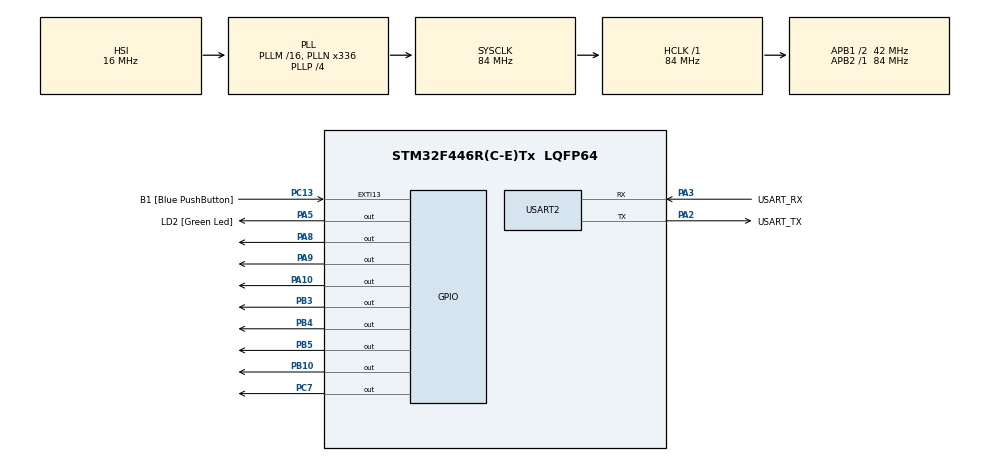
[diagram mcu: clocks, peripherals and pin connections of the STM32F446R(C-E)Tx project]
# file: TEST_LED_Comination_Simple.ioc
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Mcu.Family=STM32F4
Mcu.Name=STM32F446R(C-E)Tx
Mcu.Package=LQFP64
NVIC.PriorityGroup=NVIC_PRIORITYGROUP_0
PA10.Signal=GPIO_Output
PA13.GPIO_Label=TMS
PA13.Mode=Serial_Wire
PA13.Signal=SYS_JTMS-SWDIO
PA14.GPIO_Label=TCK
PA14.Mode=Serial_Wire
PA14.Signal=SYS_JTCK-SWCLK
PA2.GPIO_Label=USART_TX
PA2.Mode=Asynchronous
PA2.Signal=USART2_TX
PA3.GPIO_Label=USART_RX
PA3.Mode=Asynchronous
PA3.Signal=USART2_RX
PA5.GPIO_Label=LD2 [Green Led]
PA5.Signal=GPIO_Output
PA8.Signal=GPIO_Output
PA9.Signal=GPIO_Output
PB10.Signal=GPIO_Output
PB3.Signal=GPIO_Output
PB4.Signal=GPIO_Output
PB5.Signal=GPIO_Output
PC13.GPIO_Label=B1 [Blue PushButton]
PC13.GPIO_ModeDefaultEXTI=GPIO_MODE_IT_FALLING
PC13.Signal=GPXTI13
PC14-OSC32_IN.Mode=LSE-External-Oscillator
PC14-OSC32_IN.Signal=RCC_OSC32_IN
PC15-OSC32_OUT.Mode=LSE-External-Oscillator
PC15-OSC32_OUT.Signal=RCC_OSC32_OUT
PC7.Signal=GPIO_Output
PH0-OSC_IN.Mode=HSE-External-Oscillator
PH0-OSC_IN.Signal=RCC_OSC_IN
PH1-OSC_OUT.Mode=HSE-External-Oscillator
PH1-OSC_OUT.Signal=RCC_OSC_OUT
ProjectManager.HeapSize=0x200
ProjectManager.StackSize=0x400
ProjectManager.TargetToolchain=STM32CubeIDE
RCC.48MHZClocksFreq_Value=84000000
RCC.AHBFreq_Value=84000000
RCC.APB1CLKDivider=RCC_HCLK_DIV2
RCC.APB1Freq_Value=42000000
RCC.APB1TimFreq_Value=84000000
RCC.APB2Freq_Value=84000000
RCC.APB2TimFreq_Value=84000000
RCC.CortexFreq_Value=84000000
RCC.FLatency-AdvancedSettings=FLASH_LATENCY_2
RCC.HCLKFreq_Value=84000000
RCC.HSE_VALUE=8000000
RCC.HSI_VALUE=16000000
RCC.PLLN=336
RCC.PLLP=RCC_PLLP_DIV4
RCC.SYSCLKFreq_VALUE=84000000
RCC.SYSCLKSource=RCC_SYSCLKSOURCE_PLLCLK
RCC.USBFreq_Value=168000000
RCC.VCOOutputFreq_Value=336000000
USART2.VirtualMode=VM_ASYNC
board=NUCLEO-F446RE

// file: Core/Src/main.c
/* USER CODE BEGIN Header */
/**
  ******************************************************************************
  * @file           : main.c
  * @brief          : Main program body
  ******************************************************************************
  * @attention
  *
  * Copyright (c) 2023 STMicroelectronics.
  * All rights reserved.
  *
  * This software is licensed under terms that can be found in the LICENSE file
  * in the root directory of this software component.
  * If no LICENSE file comes with this software, it is provided AS-IS.
  *
  ******************************************************************************
  */
/* USER CODE END Header */
#include "main.h"

#define delay HAL_Delay(100)

UART_HandleTypeDef huart2;

void SystemClock_Config(void);
static void MX_GPIO_Init(void);
static void MX_USART2_UART_Init(void);

int main(void)
{

  /* MCU Configuration--------------------------------------------------------*/

  /* Reset of all peripherals, Initializes the Flash interface and the Systick. */
  HAL_Init();

  /* Configure the system clock */
  SystemClock_Config();

  /* Initialize all configured peripherals */
  MX_GPIO_Init();
  MX_USART2_UART_Init();

  /* Infinite loop */
  while (1)
  {

    /* USER CODE BEGIN 3 */

		  HAL_GPIO_WritePin(GPIOA, GPIO_PIN_10, GPIO_PIN_SET);
		  HAL_Delay(100);
		  HAL_GPIO_WritePin(GPIOB, GPIO_PIN_3, GPIO_PIN_SET);
	  	  HAL_Delay(100);
	  	  HAL_GPIO_WritePin(GPIOB, GPIO_PIN_5, GPIO_PIN_SET);
		  HAL_Delay(100);
		  HAL_GPIO_WritePin(GPIOB, GPIO_PIN_4, GPIO_PIN_SET);
		  HAL_Delay(100);
		  HAL_GPIO_WritePin(GPIOB, GPIO_PIN_10, GPIO_PIN_SET);
		  HAL_Delay(100);
		  HAL_GPIO_WritePin(GPIOA, GPIO_PIN_8, GPIO_PIN_SET);
		  HAL_Delay(100);
		  HAL_GPIO_WritePin(GPIOA, GPIO_PIN_9, GPIO_PIN_SET);
		  HAL_Delay(100);
		  HAL_GPIO_WritePin(GPIOC, GPIO_PIN_7, GPIO_PIN_SET);
		  HAL_Delay(100);

		  HAL_GPIO_WritePin(GPIOA, GPIO_PIN_10, GPIO_PIN_RESET);
		  HAL_Delay(100);
		  HAL_GPIO_WritePin(GPIOB, GPIO_PIN_3, GPIO_PIN_RESET);
		  HAL_Delay(100);
		  HAL_GPIO_WritePin(GPIOB, GPIO_PIN_5, GPIO_PIN_RESET);
		  HAL_Delay(100);
		  HAL_GPIO_WritePin(GPIOB, GPIO_PIN_4, GPIO_PIN_RESET);
		  HAL_Delay(100);
		  HAL_GPIO_WritePin(GPIOB, GPIO_PIN_10, GPIO_PIN_RESET);
		  HAL_Delay(100);
		  HAL_GPIO_WritePin(GPIOA, GPIO_PIN_8, GPIO_PIN_RESET);
		  HAL_Delay(100);
		  HAL_GPIO_WritePin(GPIOA, GPIO_PIN_9, GPIO_PIN_RESET);
		  HAL_Delay(100);
		  HAL_GPIO_WritePin(GPIOC, GPIO_PIN_7, GPIO_PIN_RESET);
		  HAL_Delay(100);

  }
  /* USER CODE END 3 */
}

void SystemClock_Config(void)
{
  RCC_OscInitTypeDef RCC_OscInitStruct = {0};
  RCC_ClkInitTypeDef RCC_ClkInitStruct = {0};

  /** Configure the main internal regulator output voltage
  */
  __HAL_RCC_PWR_CLK_ENABLE();
  __HAL_PWR_VOLTAGESCALING_CONFIG(PWR_REGULATOR_VOLTAGE_SCALE3);

  /** Initializes the RCC Oscillators according to the specified parameters
  * in the RCC_OscInitTypeDef structure.
  */
  RCC_OscInitStruct.OscillatorType = RCC_OSCILLATORTYPE_HSI;
  RCC_OscInitStruct.HSIState = RCC_HSI_ON;
  RCC_OscInitStruct.HSICalibrationValue = RCC_HSICALIBRATION_DEFAULT;
  RCC_OscInitStruct.PLL.PLLState = RCC_PLL_ON;
  RCC_OscInitStruct.PLL.PLLSource = RCC_PLLSOURCE_HSI;
  RCC_OscInitStruct.PLL.PLLM = 16;
  RCC_OscInitStruct.PLL.PLLN = 336;
  RCC_OscInitStruct.PLL.PLLP = RCC_PLLP_DIV4;
  RCC_OscInitStruct.PLL.PLLQ = 2;
  RCC_OscInitStruct.PLL.PLLR = 2;
  if (HAL_RCC_OscConfig(&RCC_OscInitStruct) != HAL_OK)
  {
    Error_Handler();
  }

  /** Initializes the CPU, AHB and APB buses clocks
  */
  RCC_ClkInitStruct.ClockType = RCC_CLOCKTYPE_HCLK|RCC_CLOCKTYPE_SYSCLK
                              |RCC_CLOCKTYPE_PCLK1|RCC_CLOCKTYPE_PCLK2;
  RCC_ClkInitStruct.SYSCLKSource = RCC_SYSCLKSOURCE_PLLCLK;
  RCC_ClkInitStruct.AHBCLKDivider = RCC_SYSCLK_DIV1;
  RCC_ClkInitStruct.APB1CLKDivider = RCC_HCLK_DIV2;
  RCC_ClkInitStruct.APB2CLKDivider = RCC_HCLK_DIV1;

  if (HAL_RCC_ClockConfig(&RCC_ClkInitStruct, FLASH_LATENCY_2) != HAL_OK)
  {
    Error_Handler();
  }
}

static void MX_USART2_UART_Init(void)
{

  huart2.Instance = USART2;
  huart2.Init.BaudRate = 115200;
  huart2.Init.WordLength = UART_WORDLENGTH_8B;
  huart2.Init.StopBits = UART_STOPBITS_1;
  huart2.Init.Parity = UART_PARITY_NONE;
  huart2.Init.Mode = UART_MODE_TX_RX;
  huart2.Init.HwFlowCtl = UART_HWCONTROL_NONE;
  huart2.Init.OverSampling = UART_OVERSAMPLING_16;
  if (HAL_UART_Init(&huart2) != HAL_OK)
  {
    Error_Handler();
  }

}

static void MX_GPIO_Init(void)
{
  GPIO_InitTypeDef GPIO_InitStruct = {0};

  /* GPIO Ports Clock Enable */
  __HAL_RCC_GPIOC_CLK_ENABLE();
  __HAL_RCC_GPIOH_CLK_ENABLE();
  __HAL_RCC_GPIOA_CLK_ENABLE();
  __HAL_RCC_GPIOB_CLK_ENABLE();

  /*Configure GPIO pin Output Level */
  HAL_GPIO_WritePin(GPIOA, LD2_Pin|GPIO_PIN_8|GPIO_PIN_9|GPIO_PIN_10, GPIO_PIN_RESET);

  /*Configure GPIO pin Output Level */
  HAL_GPIO_WritePin(GPIOB, GPIO_PIN_10|GPIO_PIN_3|GPIO_PIN_4|GPIO_PIN_5, GPIO_PIN_RESET);

  /*Configure GPIO pin Output Level */
  HAL_GPIO_WritePin(GPIOC, GPIO_PIN_7, GPIO_PIN_RESET);

  /*Configure GPIO pin : B1_Pin */
  GPIO_InitStruct.Pin = B1_Pin;
  GPIO_InitStruct.Mode = GPIO_MODE_IT_FALLING;
  GPIO_InitStruct.Pull = GPIO_NOPULL;
  HAL_GPIO_Init(B1_GPIO_Port, &GPIO_InitStruct);

  /*Configure GPIO pins : LD2_Pin PA8 PA9 PA10 */
  GPIO_InitStruct.Pin = LD2_Pin|GPIO_PIN_8|GPIO_PIN_9|GPIO_PIN_10;
  GPIO_InitStruct.Mode = GPIO_MODE_OUTPUT_PP;
  GPIO_InitStruct.Pull = GPIO_NOPULL;
  GPIO_InitStruct.Speed = GPIO_SPEED_FREQ_LOW;
  HAL_GPIO_Init(GPIOA, &GPIO_InitStruct);

  /*Configure GPIO pins : PB10 PB3 PB4 PB5 */
  GPIO_InitStruct.Pin = GPIO_PIN_10|GPIO_PIN_3|GPIO_PIN_4|GPIO_PIN_5;
  GPIO_InitStruct.Mode = GPIO_MODE_OUTPUT_PP;
  GPIO_InitStruct.Pull = GPIO_NOPULL;
  GPIO_InitStruct.Speed = GPIO_SPEED_FREQ_LOW;
  HAL_GPIO_Init(GPIOB, &GPIO_InitStruct);

  /*Configure GPIO pin : PC7 */
  GPIO_InitStruct.Pin = GPIO_PIN_7;
  GPIO_InitStruct.Mode = GPIO_MODE_OUTPUT_PP;
  GPIO_InitStruct.Pull = GPIO_NOPULL;
  GPIO_InitStruct.Speed = GPIO_SPEED_FREQ_LOW;
  HAL_GPIO_Init(GPIOC, &GPIO_InitStruct);

}

void Error_Handler(void)
{
  __disable_irq();
  while (1)
  {
  }
}
